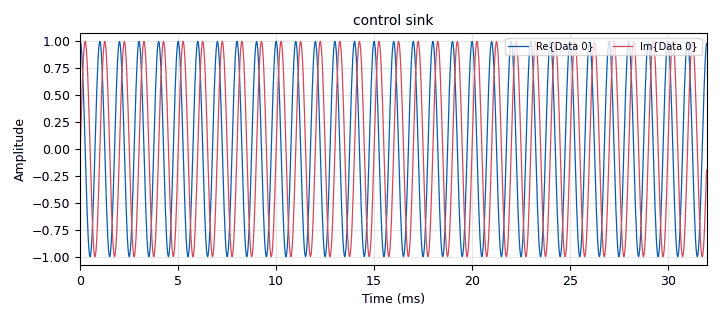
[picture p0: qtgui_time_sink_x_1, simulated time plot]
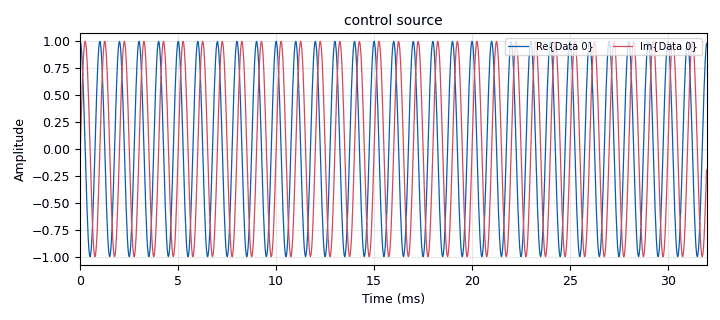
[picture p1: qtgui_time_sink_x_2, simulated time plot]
<?xml version='1.0' encoding='utf-8'?>
<?grc format='1' created='3.7.11'?>
<flow_graph>
<block>
<key>options</key>
<param><key>id</key><value>top_block</value></param>
<param><key>generate_options</key><value>qt_gui</value></param>
</block>
<block>
<key>variable</key>
<param><key>id</key><value>samp_rate</value></param>
<param><key>value</key><value>32000</value></param>
</block>
<block>
<key>analog_sig_source_x</key>
<param><key>id</key><value>analog_sig_source_x_0</value></param>
<param><key>amp</key><value>1</value></param>
<param><key>freq</key><value>1000</value></param>
<param><key>offset</key><value>0</value></param>
<param><key>type</key><value>complex</value></param>
<param><key>samp_rate</key><value>samp_rate</value></param>
<param><key>waveform</key><value>analog.GR_COS_WAVE</value></param>
</block>
<block>
<key>analog_sig_source_x</key>
<param><key>id</key><value>analog_sig_source_x_1</value></param>
<param><key>amp</key><value>2</value></param>
<param><key>freq</key><value>1000</value></param>
<param><key>offset</key><value>0</value></param>
<param><key>type</key><value>complex</value></param>
<param><key>samp_rate</key><value>samp_rate</value></param>
<param><key>waveform</key><value>analog.GR_COS_WAVE</value></param>
</block>
<block>
<key>blocks_message_debug</key>
<param><key>id</key><value>blocks_message_debug_0</value></param>
</block>
<block>
<key>epy_block</key>
<param><key>id</key><value>epy_block_0</value></param>
<param><key>_source_code</key><value>"""
Embedded Python Blocks:

Each time this file is saved, GRC will instantiate the first class it finds
to get ports and parameters of your block. The arguments to __init__  will
be the parameters. All of them are required to have default values!
"""

import numpy as np
from gnuradio import gr
import pmt

class blk(gr.sync_block):  # other base classes are basic_block, decim_block, interp_block
    """Embedded Python Block example - a simple multiply const"""

    def __init__(self, Num_Samples_To_Count=128):  # only default arguments here
        """arguments to this function show up as parameters in GRC"""
        gr.sync_block.__init__(
            self,
            name='Select Control sink',   # will show up in GRC
            in_sig=[np.complex64],
            out_sig=[np.complex64]
        )
        # if an attribute with the same name as a parameter is found,
        # a callback is registered (properties work, too).
        self.Num_Samples_To_Count = Num_Samples_To_Count
        self.portName = 'messageOutput'
        self.message_port_register_out(pmt.intern(self.portName))
        self.state = 0
        self.counter = 0
        self.frequency_list = [0, 2420e6, 2440e6, 0, 2500e6]
        self.gain_list = [20, 30, 40, 50, 60]

    def work(self, input_items, output_items):
        """example: multiply with constant"""
        self.counter = self.counter + len(output_items[0])
        if (self.counter &gt; self.Num_Samples_To_Count):
            now_gain=self.gain_list[self.state]
            now_freq=self.frequency_list[self.state]
            # command
            command = pmt.make_dict()
            command = pmt.dict_add(command, pmt.to_pmt("freq"), pmt.from_double(now_freq))
            command = pmt.dict_add(command, pmt.to_pmt("gain"), pmt.from_double(now_gain))

            PMT_msg = pmt.from_double(self.frequency_list[self.state])
            # PASS
            self.message_port_pub(pmt.intern(self.portName), command)
            
            self.state = (self.state + 1) % 5
            self.counter = 0
        output_items[0][:]=input_items[0]
        return len(output_items[0])

</value></param>
<param><key>Num_Samples_To_Count</key><value>32000000</value></param>
</block>
<block>
<key>epy_block</key>
<param><key>id</key><value>epy_block_0_0</value></param>
<param><key>_source_code</key><value>"""
Embedded Python Blocks:

Each time this file is saved, GRC will instantiate the first class it finds
to get ports and parameters of your block. The arguments to __init__  will
be the parameters. All of them are required to have default values!
"""

import numpy as np
from gnuradio import gr
import pmt

class blk(gr.sync_block):  # other base classes are basic_block, decim_block, interp_block
    """Embedded Python Block example - a simple multiply const"""

    def __init__(self, Num_Samples_To_Count=128):  # only default arguments here
        """arguments to this function show up as parameters in GRC"""
        gr.sync_block.__init__(
            self,
            name='Select Control source',   # will show up in GRC
            in_sig=[np.complex64],
            out_sig=[np.complex64]
        )
        # if an attribute with the same name as a parameter is found,
        # a callback is registered (properties work, too).
        self.Num_Samples_To_Count = Num_Samples_To_Count
        self.portName = 'messageOutput'
        self.message_port_register_out(pmt.intern(self.portName))
        self.state = 0
        self.counter = 0
        self.frequency_list = [2400e6, 2420e6, 2440e6, 2460e6, 2499e6]
        self.gain_list = [20, 30, 40, 50, 60]

    def work(self, input_items, output_items):
        """example: multiply with constant"""
        self.counter = self.counter + len(output_items[0])
        if (self.counter &gt; self.Num_Samples_To_Count):
            now_gain=self.gain_list[self.state]
            now_freq=self.frequency_list[self.state]
            # command
            command = pmt.make_dict()
            command = pmt.dict_add(command, pmt.to_pmt("freq"), pmt.from_double(now_freq))
            command = pmt.dict_add(command, pmt.to_pmt("gain"), pmt.from_double(now_gain))

            PMT_msg = pmt.from_double(self.frequency_list[self.state])
            # PASS
            self.message_port_pub(pmt.intern(self.portName), command)
            
            self.state = (self.state + 1) % 5
            self.counter = 0
        output_items[0][:]=input_items[0]
        return len(output_items[0])

</value></param>
<param><key>Num_Samples_To_Count</key><value>32000000</value></param>
</block>
<block>
<key>epy_block</key>
<param><key>id</key><value>epy_block_1</value></param>
<param><key>_source_code</key><value>"""
Embedded Python Blocks:

Each time this file is saved, GRC will instantiate the first class it finds
to get ports and parameters of your block. The arguments to __init__  will
be the parameters. All of them are required to have default values!
"""

import numpy as np
from gnuradio import gr
from gnuradio import uhd
import pmt

class blk(gr.sync_block):  # other base classes are basic_block, decim_block, interp_block
    """Embedded Python Block example - a simple multiply const"""

    def __init__(self):  # only default arguments here
        """arguments to this function show up as parameters in GRC"""
        gr.sync_block.__init__(
            self,
            name='Set_sink_center_freq',   # will show up in GRC
            in_sig=None,
            out_sig=None
        )
        # if an attribute with the same name as a parameter is found,
        # a callback is registered (properties work, too).
        self.selectPortName= 'get_message'
        self.outPortName= 'sink_message'
        self.message_port_register_in(pmt.intern(self.selectPortName))
        self.message_port_register_out(pmt.intern(self.outPortName))
        self.set_msg_handler(pmt.intern(self.selectPortName), self.handle_msg)
        self.selector = 0
        self.freqency_list = [2400e6, 2420e6, 2440e6, 2460e6, 2480e6]
        self.now = 0
        self.Gain = 0
    
    def handle_msg(self, msg):
        self.selector = pmt.to_long(msg)
    
    def work(self):
        """example: multiply with constant"""
        self.now = self.frequency_list[self.selector]
        self.Gain = 45
        # set the center frequency of sink
        # create PMT
        # Pass
        self.message_port_pub(pmt.intern(self.outPortName), pmt.from_double(self.now))

        return 0

</value></param>
<param><key>_enabled</key><value>0</value></param>
</block>
<block>
<key>epy_block</key>
<param><key>id</key><value>epy_block_2</value></param>
<param><key>_source_code</key><value>"""
Embedded Python Blocks:

Each time this file is saved, GRC will instantiate the first class it finds
to get ports and parameters of your block. The arguments to __init__  will
be the parameters. All of them are required to have default values!
"""

import numpy as np
from gnuradio import gr
from gnuradio import uhd
import pmt

class blk(gr.sync_block):  # other base classes are basic_block, decim_block, interp_block
    """Embedded Python Block example - a simple multiply const"""

    def __init__(self):  # only default arguments here
        """arguments to this function show up as parameters in GRC"""
        gr.sync_block.__init__(
            self,
            name='Set_source_center_freq',   # will show up in GRC
            in_sig=None,
            out_sig=None
        )
        # if an attribute with the same name as a parameter is found,
        # a callback is registered (properties work, too).
        self.selectPortName= 'get_message'
        self.outPortName= 'source_message'
        self.message_port_register_in(pmt.intern(self.selectPortName))
        self.message_port_register_out(pmt.intern(self.outPortName))
        self.set_msg_handler(pmt.intern(self.selectPortName), self.handle_msg)
        self.selector = 0
        self.freqency_list=[0, 0, 0, 0, 0]
        self.now_freq = 0
        self.now_gain = 0
        
    def handle_msg(self, msg):
        self.selector = pmt.to_long(msg)
    
    def work(self, input_items, output_items):
        """example: multiply with constant"""
        self.now_freq = self.freqency_list[self.selector]
        self.now_gain = 45
        # set the center frequency of source
        # create PMT
        command = pmt.make_dict()
        command = pmt.dict_add(command, pmt.to_pmt("freq"), pmt.from_double(self.now_freq))
        command = pmt.dict_add(command, pmt.to_pmt("gain"), pmt.from_double(self.now_gain))
        # PASS
        self.message_port_pub(pmt.intern(self.outPortName), command)
             
        return len(output_items[0])

</value></param>
<param><key>_enabled</key><value>0</value></param>
</block>
<block>
<key>epy_block</key>
<param><key>id</key><value>epy_block_3</value></param>
<param><key>_source_code</key><value>from gnuradio import gr, uhd
import pmt

class blk(gr.sync_block):
    """Embedded Python Block example - a simple multiply const"""

    def __init__(self):  
        """arguments to this function show up as parameters in GRC"""
        gr.sync_block.__init__(
            self,
            name='Set_sink_center_freq',   # will show up in GRC
            in_sig=None,
            out_sig=None
        )
        self.selectPortName= 'get_message'
        self.outPortName= 'sink_message'
        self.message_port_register_in(pmt.intern(self.selectPortName))
        self.message_port_register_out(pmt.intern(self.outPortName))
        self.set_msg_handler(pmt.intern(self.selectPortName), self.handle_msg)
        self.selector = 0
        self.frequency_list = [0, 0, 0, 0, 0]
        self.now = 0
        self.Gain = 45

        # Create USRP Sink block
        self.usrp_sink = uhd.usrp_sink(device_addr="", stream_args=uhd.stream_args(cpu_format="fc32", channels=range(1)))

    def handle_msg(self, msg):
        self.selector = pmt.to_long(msg)
    
    def work(self, input_items, output_items):
        """example: multiply with constant"""
        self.now = self.frequency_list[self.selector]
        self.Gain = 45

        # Set the center frequency and gain of the USRP Sink
        self.usrp_sink.set_center_freq(self.now)
        self.usrp_sink.set_gain(self.Gain)

        # Pass
        self.message_port_pub(pmt.intern(self.outPortName), pmt.PMT_T)

        return len(output_items[0])

</value></param>
<param><key>_enabled</key><value>0</value></param>
</block>
<block>
<key>qtgui_time_sink_x</key>
<param><key>id</key><value>qtgui_time_sink_x_0</value></param>
<param><key>color1</key><value>"blue"</value></param>
<param><key>label1</key><value></value></param>
<param><key>color2</key><value>"red"</value></param>
<param><key>label2</key><value></value></param>
<param><key>name</key><value>"Useful"</value></param>
<param><key>size</key><value>1024</value></param>
<param><key>srate</key><value>samp_rate</value></param>
<param><key>type</key><value>complex</value></param>
</block>
<block>
<key>qtgui_time_sink_x</key>
<param><key>id</key><value>qtgui_time_sink_x_1</value></param>
<param><key>color1</key><value>"blue"</value></param>
<param><key>label1</key><value></value></param>
<param><key>color2</key><value>"red"</value></param>
<param><key>label2</key><value></value></param>
<param><key>name</key><value>"control sink"</value></param>
<param><key>size</key><value>1024</value></param>
<param><key>srate</key><value>samp_rate</value></param>
<param><key>type</key><value>complex</value></param>
</block>
<block>
<key>qtgui_time_sink_x</key>
<param><key>id</key><value>qtgui_time_sink_x_2</value></param>
<param><key>color1</key><value>"blue"</value></param>
<param><key>label1</key><value></value></param>
<param><key>color2</key><value>"red"</value></param>
<param><key>label2</key><value></value></param>
<param><key>name</key><value>"control source"</value></param>
<param><key>size</key><value>1024</value></param>
<param><key>srate</key><value>samp_rate</value></param>
<param><key>type</key><value>complex</value></param>
</block>
<block>
<key>uhd_usrp_sink</key>
<param><key>id</key><value>uhd_usrp_sink_1</value></param>
<param><key>ant0</key><value>TX/RX</value></param>
<param><key>center_freq0</key><value>0</value></param>
<param><key>norm_gain0</key><value>False</value></param>
<param><key>gain0</key><value>0</value></param>
<param><key>clock_rate</key><value>0.0</value></param>
<param><key>dev_args</key><value>""</value></param>
<param><key>type</key><value>fc32</value></param>
<param><key>samp_rate</key><value>samp_rate</value></param>
<param><key>hide_cmd_port</key><value>False</value></param>
<param><key>hide_lo_controls</key><value>True</value></param>
<param><key>sync</key><value></value></param>
<param><key>len_tag_name</key><value></value></param>
</block>
<block>
<key>uhd_usrp_source</key>
<param><key>id</key><value>uhd_usrp_source_0</value></param>
<param><key>ant0</key><value>RX2</value></param>
<param><key>center_freq0</key><value>2400e6</value></param>
<param><key>dc_offs_enb0</key><value>""</value></param>
<param><key>iq_imbal_enb0</key><value>""</value></param>
<param><key>norm_gain0</key><value>False</value></param>
<param><key>gain0</key><value>45</value></param>
<param><key>clock_rate</key><value>0.0</value></param>
<param><key>dev_args</key><value>""</value></param>
<param><key>type</key><value>fc32</value></param>
<param><key>samp_rate</key><value>samp_rate</value></param>
<param><key>hide_cmd_port</key><value>False</value></param>
<param><key>hide_lo_controls</key><value>True</value></param>
<param><key>sync</key><value></value></param>
</block>
<connection><source_block_id>analog_sig_source_x_0</source_block_id><sink_block_id>epy_block_0</sink_block_id><source_key>0</source_key><sink_key>0</sink_key></connection>
<connection><source_block_id>analog_sig_source_x_0</source_block_id><sink_block_id>epy_block_0_0</sink_block_id><source_key>0</source_key><sink_key>0</sink_key></connection>
<connection><source_block_id>analog_sig_source_x_1</source_block_id><sink_block_id>uhd_usrp_sink_1</sink_block_id><source_key>0</source_key><sink_key>0</sink_key></connection>
<connection><source_block_id>epy_block_0</source_block_id><sink_block_id>blocks_message_debug_0</sink_block_id><source_key>messageOutput</source_key><sink_key>print</sink_key></connection>
<connection><source_block_id>epy_block_0</source_block_id><sink_block_id>uhd_usrp_sink_1</sink_block_id><source_key>messageOutput</source_key><sink_key>command</sink_key></connection>
<connection><source_block_id>epy_block_0</source_block_id><sink_block_id>qtgui_time_sink_x_1</sink_block_id><source_key>0</source_key><sink_key>0</sink_key></connection>
<connection><source_block_id>epy_block_0_0</source_block_id><sink_block_id>uhd_usrp_source_0</sink_block_id><source_key>messageOutput</source_key><sink_key>command</sink_key></connection>
<connection><source_block_id>epy_block_0_0</source_block_id><sink_block_id>qtgui_time_sink_x_2</sink_block_id><source_key>0</source_key><sink_key>0</sink_key></connection>
<connection><source_block_id>uhd_usrp_source_0</source_block_id><sink_block_id>qtgui_time_sink_x_0</sink_block_id><source_key>0</source_key><sink_key>0</sink_key></connection>
</flow_graph>
